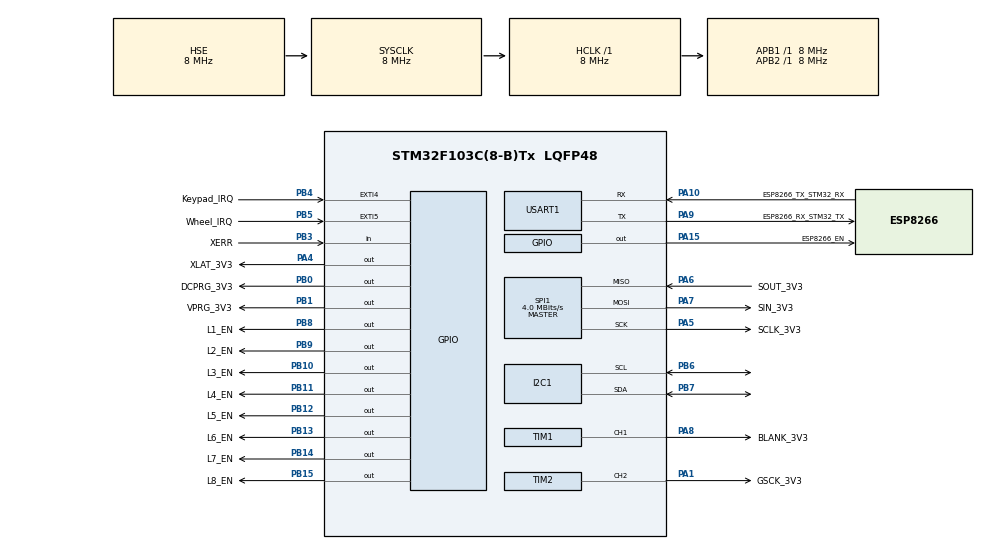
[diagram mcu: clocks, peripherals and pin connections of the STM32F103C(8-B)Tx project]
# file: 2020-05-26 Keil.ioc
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Mcu.Family=STM32F1
PA6.Mode=Full_Duplex_Master
SPI1.VirtualType=VM_MASTER
PB4.GPIO_ModeDefaultEXTI=GPIO_MODE_IT_FALLING
PB14.GPIO_Label=L7_EN
VP_RTC_VS_RTC_Activate.Mode=RTC_Enabled
PA6.GPIO_Label=SOUT_3V3
PB0.GPIO_Label=DCPRG_3V3
NVIC.TIM1_UP_IRQn=true\:1\:0\:true\:false\:true\:true\:true
PB13.GPIO_Label=L6_EN
PB11.Signal=GPIO_Output
PB13.Signal=GPIO_Output
PB15.Signal=GPIO_Output
RCC.SYSCLKSource=RCC_SYSCLKSOURCE_HSE
ProjectManager.StackSize=0x400
PD1-OSC_OUT.Signal=RCC_OSC_OUT
PA15.GPIO_Label=ESP8266_EN
SPI1.Direction=SPI_DIRECTION_2LINES
RCC.HCLKFreq_Value=8000000
RCC.APB2TimFreq_Value=8000000
PB6.Signal=I2C1_SCL
PB6.Mode=I2C
SPI1.CalculateBaudRate=4.0 MBits/s
RCC.AHBFreq_Value=8000000
RCC.RTCClockSelection=RCC_RTCCLKSOURCE_LSE
PB12.GPIO_Label=L5_EN
PB3.GPIO_PuPd=GPIO_PULLUP
PC14-OSC32_IN.Mode=LSE-External-Oscillator
PA14.Mode=Serial_Wire
PB1.GPIO_Label=VPRG_3V3
PA10.GPIO_Label=ESP8266_TX_STM32_RX
PB7.Signal=I2C1_SDA
PA8.Signal=S_TIM1_CH1
Mcu.Package=LQFP48
PB9.Signal=GPIO_Output
TIM2.Channel-Output\ Compare2\ CH2=TIM_CHANNEL_2
TIM2.OCMode_2=TIM_OCMODE_TOGGLE
PB1.Signal=GPIO_Output
PA6.Signal=SPI1_MISO
PA10.Signal=USART1_RX
PA15.Signal=GPIO_Output
PB5.GPIO_Label=Wheel_IRQ
RCC.APB1TimFreq_Value=8000000
TIM1.Period=16383
SPI1.BaudRatePrescaler=SPI_BAUDRATEPRESCALER_2
PA4.GPIO_Label=XLAT_3V3
PB4.Signal=GPXTI4
PA5.Mode=Full_Duplex_Master
PB3.GPIO_Label=XERR
PB5.GPIO_ModeDefaultEXTI=GPIO_MODE_IT_FALLING
RCC.PLLSourceVirtual=RCC_PLLSOURCE_HSE
PC15-OSC32_OUT.Mode=LSE-External-Oscillator
NVIC.EXTI4_IRQn=true\:2\:0\:true\:false\:true\:true\:true
PA7.Mode=Full_Duplex_Master
PD1-OSC_OUT.Mode=HSE-External-Oscillator
PB9.GPIO_Label=L2_EN
PA10.Mode=Asynchronous
PA9.GPIO_Label=ESP8266_RX_STM32_TX
TIM1.OCMode_1=TIM_OCMODE_ACTIVE
PB11.GPIO_Label=L4_EN
PD0-OSC_IN.Signal=RCC_OSC_IN
PC14-OSC32_IN.Signal=RCC_OSC32_IN
PA13.Signal=SYS_JTMS-SWDIO
PB8.GPIO_Label=L1_EN
SH.S_TIM2_CH2.0=TIM2_CH2,Output Compare2 CH2
PA9.Mode=Asynchronous
PA8.GPIO_Label=BLANK_3V3
SH.S_TIM1_CH1.0=TIM1_CH1,Output Compare1 CH1
ProjectManager.TargetToolchain=MDK-ARM V5.27
PB10.GPIO_Label=L3_EN
PA9.Signal=USART1_TX
RCC.USBFreq_Value=16000000
PC15-OSC32_OUT.Signal=RCC_OSC32_OUT
PA1.Signal=S_TIM2_CH2
PD0-OSC_IN.Mode=HSE-External-Oscillator
PB10.Signal=GPIO_Output
PB14.Signal=GPIO_Output
PA5.Signal=SPI1_SCK
board=custom
TIM1.TIM_MasterOutputTrigger=TIM_TRGO_UPDATE
RCC.APB2Freq_Value=8000000
PB4.GPIO_Label=Keypad_IRQ
PB15.GPIO_Label=L8_EN
SPI1.Mode=SPI_MODE_MASTER
PA1.GPIO_Label=GSCK_3V3
TIM2.Period=1
PA13.Mode=Serial_Wire
Mcu.Name=STM32F103C(8-B)Tx
PB3.Signal=GPIO_Input
PA4.Signal=GPIO_Output
RCC.SYSCLKFreq_VALUE=8000000
PB5.Signal=GPXTI5
PA7.GPIO_Label=SIN_3V3
PA5.GPIO_Label=SCLK_3V3
USART1.VirtualMode=VM_ASYNC
PB7.Mode=I2C
NVIC.EXTI9_5_IRQn=true\:2\:0\:true\:false\:true\:true\:true
PA14.Signal=SYS_JTCK-SWCLK
ProjectManager.HeapSize=0x200
TIM1.Channel-Output\ Compare1\ CH1=TIM_CHANNEL_1
TIM1.Pulse-Output\ Compare1\ CH1=16383
NVIC.PriorityGroup=NVIC_PRIORITYGROUP_4
PB8.Signal=GPIO_Output
RCC.APB1Freq_Value=8000000
PB0.Signal=GPIO_Output
PB12.Signal=GPIO_Output
PA7.Signal=SPI1_MOSI

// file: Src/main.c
/* USER CODE BEGIN Header */
/**
  ******************************************************************************
  * @file           : main.c
  * @brief          : Main program body
  ******************************************************************************
  * @attention
  *
  * <h2><center>&copy; Copyright (c) 2020 STMicroelectronics.
  * All rights reserved.</center></h2>
  *
  * This software component is licensed by ST under BSD 3-Clause license,
  * the "License"; You may not use this file except in compliance with the
  * License. You may obtain a copy of the License at:
  *                        opensource.org/licenses/BSD-3-Clause
  *
  ******************************************************************************
  */
/* USER CODE END Header */

#include "main.h"

/* USER CODE BEGIN Includes */
#define NUM_TLCS    12
//#include "arrayFunctions.h"
//#include "usbd_cdc_if.h"
#include <string.h>
#include <stdbool.h>
#include "lcd20x4_i2c.h"
#include "mpr121.h"
#include "tlc5940.h"
/* USER CODE END Includes */

I2C_HandleTypeDef hi2c1;

RTC_HandleTypeDef hrtc;

SPI_HandleTypeDef hspi1;

TIM_HandleTypeDef htim1;
TIM_HandleTypeDef htim2;

UART_HandleTypeDef huart1;

void SystemClock_Config(void);
static void MX_GPIO_Init(void);
static void MX_I2C1_Init(void);
static void MX_RTC_Init(void);
static void MX_SPI1_Init(void);
static void MX_TIM1_Init(void);
static void MX_TIM2_Init(void);
static void MX_USART1_UART_Init(void);

/* USER CODE BEGIN 0 */

bool MAIN_MENU_ENABLED = 1;
bool PIN_MAPPING_ENABLED = 0;
bool APPLICATION_ENABLED = 0;
bool KEYPAD_IRQ = 0; //when this is set, indicates that the keypad must be read

typedef struct __Frame_TypeDef{
	bool lyr0Mask[64];
	bool lyr1Mask[64];
	bool lyr2Mask[64];
	bool lyr3Mask[64];
	bool lyr4Mask[64];
	bool lyr5Mask[64];
	bool lyr6Mask[64];
	bool lyr7Mask[64];
	uint64_t lyr0Color;
	uint64_t lyr1Color;
	uint64_t lyr2Color;
	uint64_t lyr3Color;
	uint64_t lyr4Color;
	uint64_t lyr5Color;
	uint64_t lyr6Color;
	uint64_t lyr7Color;
} Frame_TypeDef;

Frame_TypeDef frame1;

//lyr global variable indicates active cube layer.
//Needs to be global so timer IRQ can access value
uint8_t activeLyr = 0;

//Data Arrays&Pointers Need to be global for a reason. I will specify why once I remember.
// Data Arrays
uint16_t data16[16*NUM_TLCS];
uint8_t data8[24*NUM_TLCS];
//uint16_t data12[12*NUM_TLCS];
// Data Pointers
//uint16_t *data12Ptr = &data12[0];
uint16_t *data16Ptr = &data16[0];
uint8_t *data8Ptr = &data8[0];

// Current mapping. Reconfigure as needed :^)
// Needs to be global for convenient timer IRQ access

uint8_t initNumPM = 0;
uint16_t initValPM = 0;
uint16_t stepSizePM = 500;
uint16_t minValPM = 0;
uint16_t maxValPM = 4000;

uint16_t ledNumPM;
int16_t redValPM;
int16_t bluValPM;
int16_t grnValPM;

//Color Definition Begin
uint64_t red = 				0x0fff00000000;
uint64_t green = 			0x00000fff0000;
uint64_t blue = 			0x000000000fff;
uint64_t yellow = 		0x0fff0fff0000;
uint64_t purple = 		0x0fff00000fff;
uint64_t cyan = 			0x000000ff00ff;
uint64_t orange = 		0x0fff08000000;
uint64_t pink = 			0x0fff0c0f0cbf;
uint64_t seafoam = 		0x071f0eef0b8f;
//Color Definition End

// This is how I'm manually specifying layer patterns for now!
bool mask0[64] = {1,1,1,1,1,1,1,1,
									1,0,0,0,0,0,0,1,
									1,0,0,0,0,0,0,1,
									1,0,0,0,0,0,0,1,
									1,0,0,0,0,0,0,1,
									1,0,0,0,0,0,0,1,
									1,0,0,0,0,0,0,1,
									1,1,1,1,1,1,1,1};

bool mask1[64] = {0,0,0,0,0,0,0,0,
									0,1,1,1,1,1,1,0,
									0,1,0,0,0,0,1,0,
									0,1,0,0,0,0,1,0,
									0,1,0,0,0,0,1,0,
									0,1,0,0,0,0,1,0,
									0,1,1,1,1,1,1,0,
									0,0,0,0,0,0,0,0};

bool mask2[64] = {0,0,0,0,0,0,0,0,
									0,0,0,0,0,0,0,0,
									0,0,1,1,1,1,0,0,
									0,0,1,0,0,1,0,0,
									0,0,1,0,0,1,0,0,
									0,0,1,1,1,1,0,0,
									0,0,0,0,0,0,0,0,
									0,0,0,0,0,0,0,0};

bool mask3[64] = {0,0,0,0,0,0,0,0,
									0,0,0,0,0,0,0,0,
									0,0,0,0,0,0,0,0,
									0,0,0,1,1,0,0,0,
									0,0,0,1,1,0,0,0,
									0,0,0,0,0,0,0,0,
									0,0,0,0,0,0,0,0,
									0,0,0,0,0,0,0,0};

bool mask4[64] = {1,1,1,1,1,1,1,1,
									1,0,0,0,0,0,0,1,
									1,0,1,1,1,1,0,1,
									1,0,1,0,0,1,0,1,
									1,0,1,0,0,1,0,1,
									1,0,1,1,1,1,0,1,
									1,0,0,0,0,0,0,1,
									1,1,1,1,1,1,1,1};

bool mask5[64] = {1,1,1,1,1,1,1,1,
									1,1,0,0,0,0,1,1,
									1,0,1,0,0,1,0,1,
									1,0,0,1,1,0,0,1,
									1,0,0,1,1,0,0,1,
									1,0,1,0,0,1,0,1,
									1,1,0,0,0,0,1,1,
									1,1,1,1,1,1,1,1};

bool mask6[64] = {0,0,0,0,0,0,0,0,
									1,1,1,1,1,1,1,1,
									0,0,0,0,0,0,0,0,
									1,1,1,1,1,1,1,1,
									0,0,0,0,0,0,0,1,
									1,1,1,1,1,1,1,1,
									0,0,0,0,0,0,0,0,
									1,1,1,1,1,1,1,1};

bool mask7[64] = {1,1,1,1,1,1,1,1,
									0,0,0,0,0,0,0,0,
									1,1,1,1,1,1,1,1,
									0,0,0,0,0,0,0,0,
									1,1,1,1,1,1,1,1,
									0,0,0,0,0,0,0,0,
									1,1,1,1,1,1,1,1,
									0,0,0,0,0,0,0,0};

bool maskAll[64] = {1,1,1,1,1,1,1,1,
									  1,1,1,1,1,1,1,1,
									  1,1,1,1,1,1,1,1,
									  1,1,1,1,1,1,1,1,
									  1,1,1,1,1,1,1,1,
									  1,1,1,1,1,1,1,1,
									  1,1,1,1,1,1,1,1,
									  1,1,1,1,1,1,1,1};

bool *mask0Ptr = &mask0[0];
bool *mask1Ptr = &mask1[0];
bool *mask2Ptr = &mask2[0];
bool *mask3Ptr = &mask3[0];
bool *mask4Ptr = &mask4[0];
bool *mask5Ptr = &mask5[0];
bool *mask6Ptr = &mask6[0];
bool *mask7Ptr = &mask7[0];

int redMap[64] = {178,181,160,163,166,145,148,151,189,186,175,172,169,158,155,152,130,133,112,115,118,97,100,103,141,138,127,124,121,110,107,104,82,85,64,67,70,49,52,55,93,90,79,76,73,62,59,56,34,37,16,19,22,1,4,7,45,42,31,28,25,14,11,8};
int grnMap[64] = {177,180,183,162,165,144,147,150,190,187,184,173,170,159,156,153,129,132,135,114,117,96,99,102,142,139,136,125,122,111,108,105,81,84,87,66,69,48,51,54,94,91,88,77,74,63,60,57,33,36,39,18,21,0,3,6,46,43,40,29,26,15,12,9};
int bluMap[64] = {176,179,182,161,164,167,146,149,191,188,185,174,171,168,157,154,128,131,134,113,116,119,98,101,143,140,137,126,123,120,109,106,80,83,86,65,68,71,50,53,95,92,89,78,75,72,61,58,32,35,38,17,20,23,2,5,47,44,41,30,27,24,13,10};

//uint16_t testWord1 = 0x0000;
//uint16_t newWord1 = 0x0000;

//uint16_t tstData12[144];
//uint16_t *tstData12Ptr = &tstData12[0];

/* USER CODE END 0 */

int main(void)
{

  /* MCU Configuration--------------------------------------------------------*/

  /* Reset of all peripherals, Initializes the Flash interface and the Systick. */
  HAL_Init();

  /* Configure the system clock */
  SystemClock_Config();

  /* Initialize all configured peripherals */
  MX_GPIO_Init();
  MX_I2C1_Init();
  MX_RTC_Init();
  MX_SPI1_Init();
  MX_TIM1_Init();
  MX_TIM2_Init();
  MX_USART1_UART_Init();
  /* USER CODE BEGIN 2 */

	frame1.lyr0Color = cyan;

	// This pin referencing is slightly redundant. L8 needs to be set since it's toggled during timXocstart (158)
	HAL_GPIO_WritePin(L8_EN_GPIO_Port, L8_EN_Pin, GPIO_PIN_RESET);
	HAL_GPIO_WritePin(L7_EN_GPIO_Port, L7_EN_Pin, GPIO_PIN_RESET);
	HAL_GPIO_WritePin(L6_EN_GPIO_Port, L6_EN_Pin, GPIO_PIN_RESET);
	HAL_GPIO_WritePin(L5_EN_GPIO_Port, L5_EN_Pin, GPIO_PIN_RESET);
	HAL_GPIO_WritePin(L4_EN_GPIO_Port, L4_EN_Pin, GPIO_PIN_RESET);
	HAL_GPIO_WritePin(L3_EN_GPIO_Port, L3_EN_Pin, GPIO_PIN_RESET);
	HAL_GPIO_WritePin(L2_EN_GPIO_Port, L2_EN_Pin, GPIO_PIN_RESET);
	HAL_GPIO_WritePin(L1_EN_GPIO_Port, L1_EN_Pin, GPIO_PIN_RESET);

	HAL_TIM_OC_Start(&htim2, TIM_CHANNEL_2);	//
	HAL_TIM_Base_Start_IT(&htim1);
	HAL_TIM_OC_Start(&htim1, TIM_CHANNEL_1);	//

	// LCD & MPR121 INIT BEGIN
	lcd20x4_i2c_init(&hi2c1);
	HAL_Delay(100);
	mpr121_init(&hi2c1, (KEYPAD_ADDRESS<<1), &hi2c1);
	HAL_Delay(100);
	mpr121_init(&hi2c1, (WHEEL_ADDRESS<<1), &hi2c1);
	HAL_Delay(100);
	lcd20x4_i2c_clear();
	HAL_Delay(100);

	if(HAL_I2C_IsDeviceReady(&hi2c1, (KEYPAD_ADDRESS<<1), 2, 10) == HAL_OK)
		{
			lcd20x4_i2c_1stLine();
			HAL_Delay(50);
			lcd20x4_i2c_printf("Keypad Ready!");
		}
	else lcd20x4_i2c_printf("Keypad Init Failed");
	lcd20x4_i2c_2ndLine();

	if(HAL_I2C_IsDeviceReady(&hi2c1, (WHEEL_ADDRESS<<1), 2, 10) == HAL_OK)
		{
			HAL_Delay(50);
			lcd20x4_i2c_printf("Wheel Ready!");
		}
	else lcd20x4_i2c_printf("Wheel Init Failed");
	lcd20x4_i2c_1stLine();

	HAL_Delay(1000);
	lcd20x4_i2c_clear();

	HAL_GPIO_WritePin(L8_EN_GPIO_Port, L8_EN_Pin, GPIO_PIN_SET);

	//LCD & MPR121 INIT END

	HAL_SPI_Init(&hspi1);

  /* USER CODE END 2 */

  /* Infinite loop */
  /* USER CODE BEGIN WHILE */
  while (1)
  {

		if(MAIN_MENU_ENABLED == 1)
		{

			tlc_clear(data16Ptr);
			tlc_update(hspi1,data16Ptr,data8Ptr);
			lcd20x4_i2c_clear();
			lcd20x4_i2c_1stLine();
			lcd20x4_i2c_printf("Main Menu");
			lcd20x4_i2c_2ndLine();
			lcd20x4_i2c_printf("1 - Application");
			lcd20x4_i2c_3rdLine();
			lcd20x4_i2c_printf("2 - Pin Mapping");

			/*
			if (KEYPAD_IRQ == 1) //keypad IRQ was asserted while lcd was being written to.
				{
					HAL_GPIO_EXTI_Callback(Keypad_IRQ_Pin);
				}
			*/

			while(MAIN_MENU_ENABLED == 1)
			{
				HAL_Delay(50);
			}
		}

		if(APPLICATION_ENABLED == 1)
		{
			lcd20x4_i2c_clear();
			lcd20x4_i2c_1stLine();
			lcd20x4_i2c_printf("Press 3 to go back");

			while(APPLICATION_ENABLED == 1)
			{

				for(int ledValTst = 0;ledValTst<64;ledValTst++)
				{

					tlc_set_led(data16Ptr,redMap[ledValTst],0x0100);
					tlc_update(hspi1, data16Ptr,data8Ptr);
 					HAL_Delay(50);
					//tlc_clear(data16Ptr);
				}

				/*
				tlc_set_led(data16Ptr,redMap[1],0x0800);
				tlc_update(hspi1, data16Ptr,data8Ptr);
 				HAL_Delay(500);

				tlc_set_led(data16Ptr,redMap[1],0x0FFF);
				tlc_update(hspi1, data16Ptr,data8Ptr);
 				HAL_Delay(500);
				*/

				/*
				tlc_clear(data16Ptr);
				tlc_set_led(data16Ptr,0,0x0123);
				tlc_set_led(data16Ptr,1,0x0456);
				tlc_set_led(data16Ptr,2,0x0789);
				tlc_set_led(data16Ptr,3,0x0ABC);
				tlc_update(hspi1, data16Ptr, data8Ptr);

				HAL_Delay(500);

				tlc_clear(data16Ptr);
				tlc_update(hspi1, data16Ptr, data8Ptr);
				*/
				tlc_clear(data16Ptr);
				HAL_Delay(500);
			}
		}

		if(PIN_MAPPING_ENABLED == 1)
		{
			lcd20x4_i2c_clear();
			lcd20x4_i2c_1stLine();
			lcd20x4_i2c_printf("LED # 123");
			lcd20x4_i2c_2ndLine();
			lcd20x4_i2c_printf("RED: 255");
			lcd20x4_i2c_3rdLine();
			lcd20x4_i2c_printf("GRN: 255");
			lcd20x4_i2c_4thLine();
			lcd20x4_i2c_printf("BLU: 255");

			ledNumPM = initNumPM;
			redValPM = initValPM;
			bluValPM = initValPM;
			grnValPM = initValPM;

			while(PIN_MAPPING_ENABLED == 1)
			{
				tlc_clear(data16Ptr);
				tlc_set_led(data16Ptr,redMap[ledNumPM],redValPM);
				tlc_set_led(data16Ptr,grnMap[ledNumPM],grnValPM);
				tlc_set_led(data16Ptr,bluMap[ledNumPM],bluValPM);
				tlc_update(hspi1, data16Ptr,data8Ptr);

				lcd20x4_i2c_clear();
				lcd20x4_i2c_1stLine();
				lcd20x4_i2c_printf("LED # %d", ledNumPM);
				lcd20x4_i2c_2ndLine();
				lcd20x4_i2c_printf("RED: %d", redValPM);
				lcd20x4_i2c_3rdLine();
				lcd20x4_i2c_printf("GRN: %d", grnValPM);
				lcd20x4_i2c_4thLine();
				lcd20x4_i2c_printf("BLU: %d", bluValPM);

				/*
				if (KEYPAD_IRQ == 1) //keypad IRQ was asserted while lcd was being written to.
				{
					HAL_GPIO_EXTI_Callback(Keypad_IRQ_Pin);
				}
				*/

				HAL_Delay(500);

				}
			}
		}
}

		/* USER CODE END WHILE */

    /* USER CODE BEGIN 3 */

	//maskCopy(maskPtr,testPtr);

  /* USER CODE END 3 */

void SystemClock_Config(void)
{
  RCC_OscInitTypeDef RCC_OscInitStruct = {0};
  RCC_ClkInitTypeDef RCC_ClkInitStruct = {0};
  RCC_PeriphCLKInitTypeDef PeriphClkInit = {0};

  /** Initializes the CPU, AHB and APB busses clocks
  */
  RCC_OscInitStruct.OscillatorType = RCC_OSCILLATORTYPE_HSE|RCC_OSCILLATORTYPE_LSE;
  RCC_OscInitStruct.HSEState = RCC_HSE_ON;
  RCC_OscInitStruct.LSEState = RCC_LSE_ON;
  RCC_OscInitStruct.PLL.PLLState = RCC_PLL_NONE;
  if (HAL_RCC_OscConfig(&RCC_OscInitStruct) != HAL_OK)
  {
    Error_Handler();
  }
  /** Initializes the CPU, AHB and APB busses clocks
  */
  RCC_ClkInitStruct.ClockType = RCC_CLOCKTYPE_HCLK|RCC_CLOCKTYPE_SYSCLK
                              |RCC_CLOCKTYPE_PCLK1|RCC_CLOCKTYPE_PCLK2;
  RCC_ClkInitStruct.SYSCLKSource = RCC_SYSCLKSOURCE_HSE;
  RCC_ClkInitStruct.AHBCLKDivider = RCC_SYSCLK_DIV1;
  RCC_ClkInitStruct.APB1CLKDivider = RCC_HCLK_DIV1;
  RCC_ClkInitStruct.APB2CLKDivider = RCC_HCLK_DIV1;

  if (HAL_RCC_ClockConfig(&RCC_ClkInitStruct, FLASH_LATENCY_0) != HAL_OK)
  {
    Error_Handler();
  }
  PeriphClkInit.PeriphClockSelection = RCC_PERIPHCLK_RTC;
  PeriphClkInit.RTCClockSelection = RCC_RTCCLKSOURCE_LSE;
  if (HAL_RCCEx_PeriphCLKConfig(&PeriphClkInit) != HAL_OK)
  {
    Error_Handler();
  }
}

static void MX_I2C1_Init(void)
{

  hi2c1.Instance = I2C1;
  hi2c1.Init.ClockSpeed = 100000;
  hi2c1.Init.DutyCycle = I2C_DUTYCYCLE_2;
  hi2c1.Init.OwnAddress1 = 0;
  hi2c1.Init.AddressingMode = I2C_ADDRESSINGMODE_7BIT;
  hi2c1.Init.DualAddressMode = I2C_DUALADDRESS_DISABLE;
  hi2c1.Init.OwnAddress2 = 0;
  hi2c1.Init.GeneralCallMode = I2C_GENERALCALL_DISABLE;
  hi2c1.Init.NoStretchMode = I2C_NOSTRETCH_DISABLE;
  if (HAL_I2C_Init(&hi2c1) != HAL_OK)
  {
    Error_Handler();
  }

}

static void MX_RTC_Init(void)
{

  /** Initialize RTC Only
  */
  hrtc.Instance = RTC;
  hrtc.Init.AsynchPrediv = RTC_AUTO_1_SECOND;
  hrtc.Init.OutPut = RTC_OUTPUTSOURCE_ALARM;
  if (HAL_RTC_Init(&hrtc) != HAL_OK)
  {
    Error_Handler();
  }

}

static void MX_SPI1_Init(void)
{

  /* SPI1 parameter configuration*/
  hspi1.Instance = SPI1;
  hspi1.Init.Mode = SPI_MODE_MASTER;
  hspi1.Init.Direction = SPI_DIRECTION_2LINES;
  hspi1.Init.DataSize = SPI_DATASIZE_8BIT;
  hspi1.Init.CLKPolarity = SPI_POLARITY_LOW;
  hspi1.Init.CLKPhase = SPI_PHASE_1EDGE;
  hspi1.Init.NSS = SPI_NSS_SOFT;
  hspi1.Init.BaudRatePrescaler = SPI_BAUDRATEPRESCALER_2;
  hspi1.Init.FirstBit = SPI_FIRSTBIT_MSB;
  hspi1.Init.TIMode = SPI_TIMODE_DISABLE;
  hspi1.Init.CRCCalculation = SPI_CRCCALCULATION_DISABLE;
  hspi1.Init.CRCPolynomial = 10;
  if (HAL_SPI_Init(&hspi1) != HAL_OK)
  {
    Error_Handler();
  }

}

static void MX_TIM1_Init(void)
{

  TIM_MasterConfigTypeDef sMasterConfig = {0};
  TIM_OC_InitTypeDef sConfigOC = {0};
  TIM_BreakDeadTimeConfigTypeDef sBreakDeadTimeConfig = {0};

  htim1.Instance = TIM1;
  htim1.Init.Prescaler = 0;
  htim1.Init.CounterMode = TIM_COUNTERMODE_UP;
  htim1.Init.Period = 16383;
  htim1.Init.ClockDivision = TIM_CLOCKDIVISION_DIV1;
  htim1.Init.RepetitionCounter = 0;
  htim1.Init.AutoReloadPreload = TIM_AUTORELOAD_PRELOAD_DISABLE;
  if (HAL_TIM_OC_Init(&htim1) != HAL_OK)
  {
    Error_Handler();
  }
  sMasterConfig.MasterOutputTrigger = TIM_TRGO_UPDATE;
  sMasterConfig.MasterSlaveMode = TIM_MASTERSLAVEMODE_DISABLE;
  if (HAL_TIMEx_MasterConfigSynchronization(&htim1, &sMasterConfig) != HAL_OK)
  {
    Error_Handler();
  }
  sConfigOC.OCMode = TIM_OCMODE_PWM2;
  sConfigOC.Pulse = 16383;
  sConfigOC.OCPolarity = TIM_OCPOLARITY_HIGH;
  sConfigOC.OCNPolarity = TIM_OCNPOLARITY_HIGH;
  sConfigOC.OCFastMode = TIM_OCFAST_DISABLE;
  sConfigOC.OCIdleState = TIM_OCIDLESTATE_RESET;
  sConfigOC.OCNIdleState = TIM_OCNIDLESTATE_RESET;
  if (HAL_TIM_OC_ConfigChannel(&htim1, &sConfigOC, TIM_CHANNEL_1) != HAL_OK)
  {
    Error_Handler();
  }
  sBreakDeadTimeConfig.OffStateRunMode = TIM_OSSR_DISABLE;
  sBreakDeadTimeConfig.OffStateIDLEMode = TIM_OSSI_DISABLE;
  sBreakDeadTimeConfig.LockLevel = TIM_LOCKLEVEL_OFF;
  sBreakDeadTimeConfig.DeadTime = 0;
  sBreakDeadTimeConfig.BreakState = TIM_BREAK_DISABLE;
  sBreakDeadTimeConfig.BreakPolarity = TIM_BREAKPOLARITY_HIGH;
  sBreakDeadTimeConfig.AutomaticOutput = TIM_AUTOMATICOUTPUT_DISABLE;
  if (HAL_TIMEx_ConfigBreakDeadTime(&htim1, &sBreakDeadTimeConfig) != HAL_OK)
  {
    Error_Handler();
  }
  /* USER CODE BEGIN TIM1_Init 2 */
	sConfigOC.OCMode = TIM_OCMODE_PWM2;
  /* USER CODE END TIM1_Init 2 */
  HAL_TIM_MspPostInit(&htim1);

}

static void MX_TIM2_Init(void)
{

  TIM_MasterConfigTypeDef sMasterConfig = {0};
  TIM_OC_InitTypeDef sConfigOC = {0};

  htim2.Instance = TIM2;
  htim2.Init.Prescaler = 0;
  htim2.Init.CounterMode = TIM_COUNTERMODE_UP;
  htim2.Init.Period = 1;
  htim2.Init.ClockDivision = TIM_CLOCKDIVISION_DIV1;
  htim2.Init.AutoReloadPreload = TIM_AUTORELOAD_PRELOAD_DISABLE;
  if (HAL_TIM_OC_Init(&htim2) != HAL_OK)
  {
    Error_Handler();
  }
  sMasterConfig.MasterOutputTrigger = TIM_TRGO_RESET;
  sMasterConfig.MasterSlaveMode = TIM_MASTERSLAVEMODE_DISABLE;
  if (HAL_TIMEx_MasterConfigSynchronization(&htim2, &sMasterConfig) != HAL_OK)
  {
    Error_Handler();
  }
  sConfigOC.OCMode = TIM_OCMODE_TOGGLE;
  sConfigOC.Pulse = 1;
  sConfigOC.OCPolarity = TIM_OCPOLARITY_HIGH;
  sConfigOC.OCFastMode = TIM_OCFAST_DISABLE;
  if (HAL_TIM_OC_ConfigChannel(&htim2, &sConfigOC, TIM_CHANNEL_2) != HAL_OK)
  {
    Error_Handler();
  }
  /* USER CODE BEGIN TIM2_Init 2 */
	sConfigOC.Pulse = 1;
  /* USER CODE END TIM2_Init 2 */
  HAL_TIM_MspPostInit(&htim2);

}

static void MX_USART1_UART_Init(void)
{

  huart1.Instance = USART1;
  huart1.Init.BaudRate = 115200;
  huart1.Init.WordLength = UART_WORDLENGTH_8B;
  huart1.Init.StopBits = UART_STOPBITS_1;
  huart1.Init.Parity = UART_PARITY_NONE;
  huart1.Init.Mode = UART_MODE_TX_RX;
  huart1.Init.HwFlowCtl = UART_HWCONTROL_NONE;
  huart1.Init.OverSampling = UART_OVERSAMPLING_16;
  if (HAL_UART_Init(&huart1) != HAL_OK)
  {
    Error_Handler();
  }

}

static void MX_GPIO_Init(void)
{
  GPIO_InitTypeDef GPIO_InitStruct = {0};

  /* GPIO Ports Clock Enable */
  __HAL_RCC_GPIOC_CLK_ENABLE();
  __HAL_RCC_GPIOD_CLK_ENABLE();
  __HAL_RCC_GPIOA_CLK_ENABLE();
  __HAL_RCC_GPIOB_CLK_ENABLE();

  /*Configure GPIO pin Output Level */
  HAL_GPIO_WritePin(GPIOA, XLAT_3V3_Pin|ESP8266_EN_Pin, GPIO_PIN_RESET);

  /*Configure GPIO pin Output Level */
  HAL_GPIO_WritePin(GPIOB, DCPRG_3V3_Pin|VPRG_3V3_Pin|L3_EN_Pin|L4_EN_Pin
                          |L5_EN_Pin|L6_EN_Pin|L7_EN_Pin|L8_EN_Pin
                          |L1_EN_Pin|L2_EN_Pin, GPIO_PIN_RESET);

  /*Configure GPIO pins : XLAT_3V3_Pin ESP8266_EN_Pin */
  GPIO_InitStruct.Pin = XLAT_3V3_Pin|ESP8266_EN_Pin;
  GPIO_InitStruct.Mode = GPIO_MODE_OUTPUT_PP;
  GPIO_InitStruct.Pull = GPIO_NOPULL;
  GPIO_InitStruct.Speed = GPIO_SPEED_FREQ_LOW;
  HAL_GPIO_Init(GPIOA, &GPIO_InitStruct);

  /*Configure GPIO pins : DCPRG_3V3_Pin VPRG_3V3_Pin L3_EN_Pin L4_EN_Pin
                           L5_EN_Pin L6_EN_Pin L7_EN_Pin L8_EN_Pin
                           L1_EN_Pin L2_EN_Pin */
  GPIO_InitStruct.Pin = DCPRG_3V3_Pin|VPRG_3V3_Pin|L3_EN_Pin|L4_EN_Pin
                          |L5_EN_Pin|L6_EN_Pin|L7_EN_Pin|L8_EN_Pin
                          |L1_EN_Pin|L2_EN_Pin;
  GPIO_InitStruct.Mode = GPIO_MODE_OUTPUT_PP;
  GPIO_InitStruct.Pull = GPIO_NOPULL;
  GPIO_InitStruct.Speed = GPIO_SPEED_FREQ_LOW;
  HAL_GPIO_Init(GPIOB, &GPIO_InitStruct);

  /*Configure GPIO pin : XERR_Pin */
  GPIO_InitStruct.Pin = XERR_Pin;
  GPIO_InitStruct.Mode = GPIO_MODE_INPUT;
  GPIO_InitStruct.Pull = GPIO_PULLUP;
  HAL_GPIO_Init(XERR_GPIO_Port, &GPIO_InitStruct);

  /*Configure GPIO pins : Keypad_IRQ_Pin Wheel_IRQ_Pin */
  GPIO_InitStruct.Pin = Keypad_IRQ_Pin|Wheel_IRQ_Pin;
  GPIO_InitStruct.Mode = GPIO_MODE_IT_FALLING;
  GPIO_InitStruct.Pull = GPIO_NOPULL;
  HAL_GPIO_Init(GPIOB, &GPIO_InitStruct);

  /* EXTI interrupt init*/
  HAL_NVIC_SetPriority(EXTI4_IRQn, 2, 0);
  HAL_NVIC_EnableIRQ(EXTI4_IRQn);

  HAL_NVIC_SetPriority(EXTI9_5_IRQn, 2, 0);
  HAL_NVIC_EnableIRQ(EXTI9_5_IRQn);

}

/* USER CODE BEGIN 4 */
void HAL_GPIO_EXTI_Callback(uint16_t GPIO_Pin)
{
	KEYPAD_IRQ = 0;

	I2C_HandleTypeDef *phi2c1 = &hi2c1;
	if (phi2c1->State != HAL_I2C_STATE_READY)
	{
		KEYPAD_IRQ = 1;
		return;
	}

	uint8_t keypadVal;

	keypadVal = mpr121_keyPad(&hi2c1, (KEYPAD_ADDRESS<<1));
	HAL_Delay(50);
	if(GPIO_Pin == Keypad_IRQ_Pin)
	{
		if(MAIN_MENU_ENABLED == true)
		{
			if(keypadVal == 1)
			{
				APPLICATION_ENABLED = true;
				MAIN_MENU_ENABLED = false;
				return;
			}

			if(keypadVal == 2)
			{
				PIN_MAPPING_ENABLED = true;
				MAIN_MENU_ENABLED = false;
				return;
			}
			return;
		}

		if(APPLICATION_ENABLED == true)
		{
			if(keypadVal == 3)
			{
				MAIN_MENU_ENABLED = true;
				APPLICATION_ENABLED = false;
				return;
			}
			return;
		}

		if(PIN_MAPPING_ENABLED == true)
		{
			if(keypadVal == 1)
				redValPM=redValPM + stepSizePM;
				if (redValPM > maxValPM) redValPM = 0;
			if(keypadVal == 2)
				bluValPM=grnValPM + stepSizePM;
				if (bluValPM > maxValPM) bluValPM = 0;
			if(keypadVal == 3)
				grnValPM=bluValPM + stepSizePM;
				if (grnValPM > maxValPM) grnValPM = 0;
			if(keypadVal == 4)
			{
				if (ledNumPM==0) ledNumPM = 64;
				ledNumPM--;
			}
			if(keypadVal == 6)
			{
				ledNumPM++;
				if (ledNumPM==64) ledNumPM = 0;
			}
			if(keypadVal == 7)
				redValPM=redValPM - stepSizePM;
				if (redValPM < minValPM) redValPM = maxValPM;
			if(keypadVal == 8)
				grnValPM=grnValPM - stepSizePM;
				if (grnValPM < minValPM) grnValPM = maxValPM;
			if(keypadVal == 9)
				bluValPM=bluValPM - stepSizePM;
				if (bluValPM < minValPM) bluValPM = maxValPM;
			if(keypadVal == 10)
			{
				MAIN_MENU_ENABLED = true;
				PIN_MAPPING_ENABLED = false;
				return;
			}
			return;
		}
	}
}

void HAL_TIM_PeriodElapsedCallback(TIM_HandleTypeDef *htim){

	//I think blank should be toggled in this callback for improved synchronization
	/*
	if(activeLyr==0){
		HAL_GPIO_TogglePin(L8_EN_GPIO_Port, L8_EN_Pin);
		tlc_clear(data16Ptr);
		tlc_set_lyr(data16Ptr,seafoam,mask5);
		tlc_update(data16Ptr,data8Ptr);
		HAL_GPIO_TogglePin(L1_EN_GPIO_Port, L1_EN_Pin);}

	if(activeLyr==1){
		HAL_GPIO_TogglePin(L1_EN_GPIO_Port, L1_EN_Pin);
		tlc_clear(data16Ptr);
		tlc_set_lyr(data16Ptr,red,mask5);
		tlc_update(data16Ptr,data8Ptr);
		HAL_GPIO_TogglePin(L2_EN_GPIO_Port, L2_EN_Pin);}

	if(activeLyr==2){
		HAL_GPIO_TogglePin(L2_EN_GPIO_Port, L2_EN_Pin);
		tlc_clear(data16Ptr);
		tlc_set_lyr(data16Ptr,cyan,mask5);
		tlc_update(data16Ptr,data8Ptr);
		HAL_GPIO_TogglePin(L3_EN_GPIO_Port, L3_EN_Pin);}

	if(activeLyr==3){
		HAL_GPIO_TogglePin(L3_EN_GPIO_Port, L3_EN_Pin);
		tlc_clear(data16Ptr);
		tlc_set_lyr(data16Ptr,purple,mask5);
		tlc_update(data16Ptr,data8Ptr);
		HAL_GPIO_TogglePin(L4_EN_GPIO_Port, L4_EN_Pin);}

	if(activeLyr==4){
		HAL_GPIO_TogglePin(L4_EN_GPIO_Port, L4_EN_Pin);
		tlc_clear(data16Ptr);
		tlc_set_lyr(data16Ptr,pink,mask5);
		tlc_update(data16Ptr,data8Ptr);
		HAL_GPIO_TogglePin(L5_EN_GPIO_Port, L5_EN_Pin);}

	if(activeLyr==5){
		HAL_GPIO_TogglePin(L5_EN_GPIO_Port, L5_EN_Pin);
		tlc_clear(data16Ptr);
		tlc_set_lyr(data16Ptr,yellow,mask5);
		tlc_update(data16Ptr,data8Ptr);
		HAL_GPIO_TogglePin(L6_EN_GPIO_Port, L6_EN_Pin);}

	if(activeLyr==6){
		HAL_GPIO_TogglePin(L6_EN_GPIO_Port, L6_EN_Pin);
		tlc_clear(data16Ptr);
		tlc_set_lyr(data16Ptr,blue,mask5);
		tlc_update(data16Ptr,data8Ptr);
		HAL_GPIO_TogglePin(L7_EN_GPIO_Port, L7_EN_Pin);}

	if(activeLyr==7){
		HAL_GPIO_TogglePin(L7_EN_GPIO_Port, L7_EN_Pin);
		tlc_clear(data16Ptr);
		tlc_set_lyr(data16Ptr,green,mask5);
		tlc_update(data16Ptr,data8Ptr);
		HAL_GPIO_TogglePin(L8_EN_GPIO_Port, L8_EN_Pin);}

	activeLyr++;
	if(activeLyr==8) activeLyr = 0;
	*/
}

//void CDC_ReceiveCallBack(uint8_t *buf, uint32_t len){
//	CDC_Transmit_FS(buf, len);
//}

/* USER CODE END 4 */

void Error_Handler(void)
{
}

/************************ (C) COPYRIGHT STMicroelectronics *****END OF FILE****/
